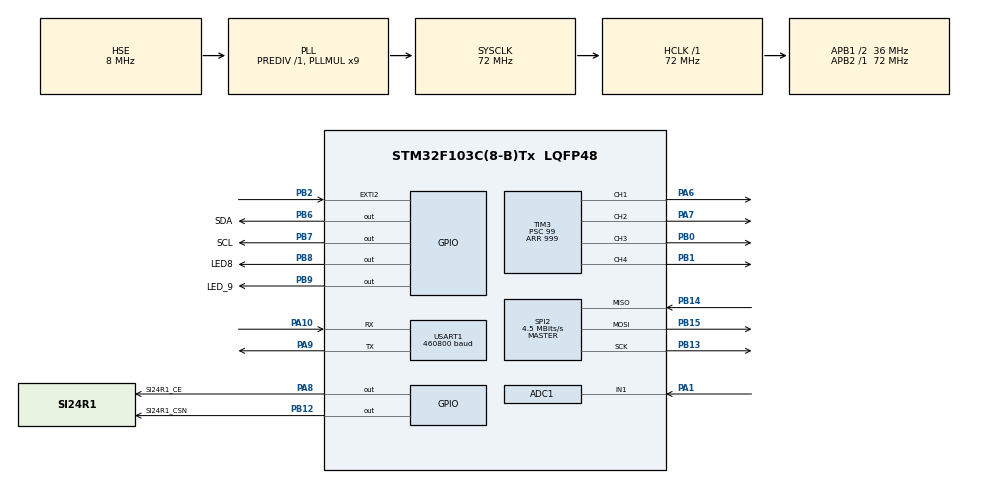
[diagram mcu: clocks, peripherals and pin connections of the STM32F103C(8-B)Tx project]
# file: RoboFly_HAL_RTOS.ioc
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ADC1.Channel-0\#ChannelRegularConversion=ADC_CHANNEL_1
ADC1.NbrOfConversionFlag=1
ADC1.Rank-0\#ChannelRegularConversion=1
ADC1.SamplingTime-0\#ChannelRegularConversion=ADC_SAMPLETIME_239CYCLES_5
ADC1.master=1
FREERTOS.Tasks01=defaultTask,0,128,StartDefaultTask,Default,NULL,Dynamic,NULL,NULL
Mcu.Family=STM32F1
Mcu.Name=STM32F103C(8-B)Tx
Mcu.Package=LQFP48
NVIC.EXTI2_IRQn=true\:6\:0\:true\:false\:true\:true\:true\:true\:true
NVIC.PriorityGroup=NVIC_PRIORITYGROUP_4
NVIC.TIM1_UP_IRQn=true\:15\:0\:false\:false\:true\:false\:false\:true\:true
NVIC.TIM4_IRQn=true\:5\:0\:false\:false\:true\:true\:true\:true\:true
NVIC.TimeBase=TIM1_UP_IRQn
NVIC.TimeBaseIP=TIM1
NVIC.USART1_IRQn=true\:6\:0\:true\:false\:true\:true\:true\:true\:true
PA1.Signal=ADCx_IN1
PA10.Mode=Asynchronous
PA10.Signal=USART1_RX
PA13.Mode=Serial_Wire
PA13.Signal=SYS_JTMS-SWDIO
PA14.Mode=Serial_Wire
PA14.Signal=SYS_JTCK-SWCLK
PA6.Signal=S_TIM3_CH1
PA7.Signal=S_TIM3_CH2
PA8.GPIO_Label=SI24R1_CE
PA8.Signal=GPIO_Output
PA9.Mode=Asynchronous
PA9.Signal=USART1_TX
PB0.Signal=S_TIM3_CH3
PB1.Signal=S_TIM3_CH4
PB12.GPIO_Label=SI24R1_CSN
PB12.GPIO_Speed=GPIO_SPEED_FREQ_HIGH
PB12.Signal=GPIO_Output
PB13.Mode=Full_Duplex_Master
PB13.Signal=SPI2_SCK
PB14.Mode=Full_Duplex_Master
PB14.Signal=SPI2_MISO
PB15.Mode=Full_Duplex_Master
PB15.Signal=SPI2_MOSI
PB2.GPIO_ModeDefaultEXTI=GPIO_MODE_IT_FALLING
PB2.GPIO_PuPd=GPIO_PULLUP
PB2.Signal=GPXTI2
PB6.GPIO_Label=SDA
PB6.GPIO_Speed=GPIO_SPEED_FREQ_HIGH
PB6.PinState=GPIO_PIN_SET
PB6.Signal=GPIO_Output
PB7.GPIO_Label=SCL
PB7.GPIO_Speed=GPIO_SPEED_FREQ_HIGH
PB7.PinState=GPIO_PIN_SET
PB7.Signal=GPIO_Output
PB8.GPIO_Label=LED8
PB8.GPIO_Speed=GPIO_SPEED_FREQ_HIGH
PB8.PinState=GPIO_PIN_SET
PB8.Signal=GPIO_Output
PB9.GPIO_Label=LED_9
PB9.GPIO_Speed=GPIO_SPEED_FREQ_HIGH
PB9.Signal=GPIO_Output
PD0-OSC_IN.Mode=HSE-External-Oscillator
PD0-OSC_IN.Signal=RCC_OSC_IN
PD1-OSC_OUT.Mode=HSE-External-Oscillator
PD1-OSC_OUT.Signal=RCC_OSC_OUT
ProjectManager.HeapSize=0x200
ProjectManager.StackSize=0x400
ProjectManager.TargetToolchain=MDK-ARM V5.32
RCC.ADCPresc=RCC_ADCPCLK2_DIV6
RCC.AHBFreq_Value=72000000
RCC.APB1CLKDivider=RCC_HCLK_DIV2
RCC.APB1Freq_Value=36000000
RCC.APB1TimFreq_Value=72000000
RCC.APB2Freq_Value=72000000
RCC.APB2TimFreq_Value=72000000
RCC.HCLKFreq_Value=72000000
RCC.PLLMUL=RCC_PLL_MUL9
RCC.PLLSourceVirtual=RCC_PLLSOURCE_HSE
RCC.SYSCLKFreq_VALUE=72000000
RCC.SYSCLKSource=RCC_SYSCLKSOURCE_PLLCLK
RCC.USBFreq_Value=72000000
SH.ADCx_IN1.0=ADC1_IN1,IN1
SH.S_TIM3_CH1.0=TIM3_CH1,PWM Generation1 CH1
SH.S_TIM3_CH2.0=TIM3_CH2,PWM Generation2 CH2
SH.S_TIM3_CH3.0=TIM3_CH3,PWM Generation3 CH3
SH.S_TIM3_CH4.0=TIM3_CH4,PWM Generation4 CH4
SPI2.BaudRatePrescaler=SPI_BAUDRATEPRESCALER_8
SPI2.CRCCalculation=SPI_CRCCALCULATION_ENABLE
SPI2.CalculateBaudRate=4.5 MBits/s
SPI2.Direction=SPI_DIRECTION_2LINES
SPI2.Mode=SPI_MODE_MASTER
SPI2.VirtualType=VM_MASTER
TIM3.Channel-PWM\ Generation1\ CH1=TIM_CHANNEL_1
TIM3.Channel-PWM\ Generation2\ CH2=TIM_CHANNEL_2
TIM3.Channel-PWM\ Generation3\ CH3=TIM_CHANNEL_3
TIM3.Channel-PWM\ Generation4\ CH4=TIM_CHANNEL_4
TIM3.Period=999
TIM3.Prescaler=99
TIM4.Period=71
TIM4.Prescaler=999
USART1.BaudRate=460800
USART1.VirtualMode=VM_ASYNC
VP_FREERTOS_VS_CMSIS_V1.Mode=CMSIS_V1
VP_SYS_VS_tim1.Mode=TIM1
VP_TIM4_VS_ClockSourceINT.Mode=Internal
board=custom

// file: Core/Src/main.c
/* USER CODE BEGIN Header */
/**
  ******************************************************************************
  * @file           : main.c
  * @brief          : Main program body
  ******************************************************************************
  * @attention
  *
  * Copyright (c) 2026 STMicroelectronics.
  * All rights reserved.
  *
  * This software is licensed under terms that can be found in the LICENSE file
  * in the root directory of this software component.
  * If no LICENSE file comes with this software, it is provided AS-IS.
  *
  ******************************************************************************
  */
/* USER CODE END Header */
#include "main.h"
#include "cmsis_os.h"
#include "adc.h"
#include "spi.h"
#include "tim.h"
#include "usart.h"
#include "gpio.h"

/* USER CODE BEGIN Includes */
#include "mpu6050.h"
#include "si24r1.h"
#include "fbm320.h"
#include "pid.h"
#include "paramsave.h"
#include "led.h"
/* USER CODE END Includes */

void SystemClock_Config(void);
void MX_FREERTOS_Init(void);

int main(void)
{

  /* MCU Configuration--------------------------------------------------------*/

  /* Reset of all peripherals, Initializes the Flash interface and the Systick. */
  HAL_Init();

  /* Configure the system clock */
  SystemClock_Config();

  /* Initialize all configured peripherals */
  MX_GPIO_Init();
  MX_ADC1_Init();
  MX_SPI2_Init();
  MX_TIM3_Init();
  MX_TIM4_Init();
  MX_USART1_UART_Init();
  /* USER CODE BEGIN 2 */
  SI24R1_Init(); // Initialize SI24R1 module(红)
  MPU6050_Init(); // Initialize MPU6050 sensor（绿）
  // FBM320_Init(); //FBM320初始化(气压计蓝)
  PID_ReadFlash(); // Initialize battery monitoring
  PidParameter_init(); // PID参数初始化
  //	Kalman_Init();
  RGB_LED_Off(); // Turn off RGB LED

  /* USER CODE END 2 */

  /* Call init function for freertos objects (in cmsis_os2.c) */
  MX_FREERTOS_Init();

  /* Start scheduler */
  osKernelStart();

  /* We should never get here as control is now taken by the scheduler */

  /* Infinite loop */
  while (1)
  {
    HAL_Delay(100);
  }
}

void SystemClock_Config(void)
{
  RCC_OscInitTypeDef RCC_OscInitStruct = {0};
  RCC_ClkInitTypeDef RCC_ClkInitStruct = {0};
  RCC_PeriphCLKInitTypeDef PeriphClkInit = {0};

  /** Initializes the RCC Oscillators according to the specified parameters
  * in the RCC_OscInitTypeDef structure.
  */
  RCC_OscInitStruct.OscillatorType = RCC_OSCILLATORTYPE_HSE;
  RCC_OscInitStruct.HSEState = RCC_HSE_ON;
  RCC_OscInitStruct.HSEPredivValue = RCC_HSE_PREDIV_DIV1;
  RCC_OscInitStruct.HSIState = RCC_HSI_ON;
  RCC_OscInitStruct.PLL.PLLState = RCC_PLL_ON;
  RCC_OscInitStruct.PLL.PLLSource = RCC_PLLSOURCE_HSE;
  RCC_OscInitStruct.PLL.PLLMUL = RCC_PLL_MUL9;
  if (HAL_RCC_OscConfig(&RCC_OscInitStruct) != HAL_OK)
  {
    Error_Handler();
  }

  /** Initializes the CPU, AHB and APB buses clocks
  */
  RCC_ClkInitStruct.ClockType = RCC_CLOCKTYPE_HCLK|RCC_CLOCKTYPE_SYSCLK
                              |RCC_CLOCKTYPE_PCLK1|RCC_CLOCKTYPE_PCLK2;
  RCC_ClkInitStruct.SYSCLKSource = RCC_SYSCLKSOURCE_PLLCLK;
  RCC_ClkInitStruct.AHBCLKDivider = RCC_SYSCLK_DIV1;
  RCC_ClkInitStruct.APB1CLKDivider = RCC_HCLK_DIV2;
  RCC_ClkInitStruct.APB2CLKDivider = RCC_HCLK_DIV1;

  if (HAL_RCC_ClockConfig(&RCC_ClkInitStruct, FLASH_LATENCY_2) != HAL_OK)
  {
    Error_Handler();
  }
  PeriphClkInit.PeriphClockSelection = RCC_PERIPHCLK_ADC;
  PeriphClkInit.AdcClockSelection = RCC_ADCPCLK2_DIV6;
  if (HAL_RCCEx_PeriphCLKConfig(&PeriphClkInit) != HAL_OK)
  {
    Error_Handler();
  }
}

void HAL_TIM_PeriodElapsedCallback(TIM_HandleTypeDef *htim)
{
  if (htim->Instance == TIM1) {
    HAL_IncTick();
  }
}

void Error_Handler(void)
{
  __disable_irq();
  while (1)
  {
  }
}

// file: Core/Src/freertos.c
/* USER CODE BEGIN Header */
/**
  ******************************************************************************
  * File Name          : freertos.c
  * Description        : Code for freertos applications
  ******************************************************************************
  * @attention
  *
  * Copyright (c) 2026 STMicroelectronics.
  * All rights reserved.
  *
  * This software is licensed under terms that can be found in the LICENSE file
  * in the root directory of this software component.
  * If no LICENSE file comes with this software, it is provided AS-IS.
  *
  ******************************************************************************
  */
/* USER CODE END Header */

#include "FreeRTOS.h"
#include "task.h"
#include "main.h"
#include "cmsis_os.h"

/* USER CODE BEGIN Includes */
#include "led.h"
#include "power.h"
#include "si24r1.h"
#include "adc.h"
#include "control.h"
#include "imu.h"
#include "remotedata.h"
#include "paramsave.h"
#include "structconfig.h"
#include "ANO_DT.h"

/* USER CODE END Includes */

/* USER CODE BEGIN Variables */
osThreadId controlTaskHandle;
osThreadId commsTaskHandle;
osThreadId statusTaskHandle;
/* USER CODE END Variables */
osThreadId defaultTaskHandle;

/* USER CODE BEGIN FunctionPrototypes */
void Task_Control(void const * argument);
void Task_Comms(void const * argument);
void Task_Status(void const * argument);
void StartDefaultTask(void const * argument);

/* USER CODE END FunctionPrototypes */

void StartDefaultTask(void const * argument);

void MX_FREERTOS_Init(void); /* (MISRA C 2004 rule 8.1) */

/* GetIdleTaskMemory prototype (linked to static allocation support) */
void vApplicationGetIdleTaskMemory( StaticTask_t **ppxIdleTaskTCBBuffer, StackType_t **ppxIdleTaskStackBuffer, uint32_t *pulIdleTaskStackSize );

/* USER CODE BEGIN GET_IDLE_TASK_MEMORY */
static StaticTask_t xIdleTaskTCBBuffer;
static StackType_t xIdleStack[configMINIMAL_STACK_SIZE];

void vApplicationGetIdleTaskMemory( StaticTask_t **ppxIdleTaskTCBBuffer, StackType_t **ppxIdleTaskStackBuffer, uint32_t *pulIdleTaskStackSize )
{
  *ppxIdleTaskTCBBuffer = &xIdleTaskTCBBuffer;
  *ppxIdleTaskStackBuffer = &xIdleStack[0];
  *pulIdleTaskStackSize = configMINIMAL_STACK_SIZE;
  /* place for user code */
}
/* USER CODE END GET_IDLE_TASK_MEMORY */

void MX_FREERTOS_Init(void) {

  /* Create the thread(s) */
  /* definition and creation of defaultTask */
  // osThreadDef(defaultTask, StartDefaultTask, osPriorityNormal, 0, 128);
  // defaultTaskHandle = osThreadCreate(osThread(defaultTask), NULL);

  /* USER CODE BEGIN RTOS_THREADS */
  osThreadDef(controlTask, Task_Control, osPriorityHigh, 0, 512);
  controlTaskHandle = osThreadCreate(osThread(controlTask), NULL);

  osThreadDef(commsTask, Task_Comms, osPriorityNormal, 0, 256);
  commsTaskHandle = osThreadCreate(osThread(commsTask), NULL);

  osThreadDef(statusTask, Task_Status, osPriorityLow, 0, 128);
  statusTaskHandle = osThreadCreate(osThread(statusTask), NULL);
  /* USER CODE END RTOS_THREADS */

}

void StartDefaultTask(void const * argument)
{
  for(;;)
  {
    osDelay(1);
  }
}

/* USER CODE BEGIN Application */
void Task_Control(void const *argument)
{
  for(;;)
  {
    Prepare_Data();												 // 获取姿态解算所需数据
		IMUupdate(&Gyr_rad, &Acc_filt, &Att_Angle);					 // 四元数姿态解算
		Control(&Att_Angle, &Gyr_rad, &RC_Control, Airplane_Enable); // 姿态控制
    osDelay(10);
  }
}

/*
遥控器与上位机通信
*/
void Task_Comms(void const * argument)
{
  for(;;)
  {
    SI24R1_SingalCheck(); // 2.4G通信检测
		SendToRemote();		  // 发送数据给遥控器
    ANO_DT_Data_Exchange(); // 更新数据到上位机
    osDelay(20);
  }
}

/*
遥控器状态监测
电压状态监测
LED状态显示
*/
void Task_Status(void const * argument)
{
  for(;;)
  {
    //Batt read
    // LowVoltage_Alarm();	//低电量报警
    //LED blink
    SI24R1_GetAddr();
    LED_Run();
    if(!Airplane_Enable && Run_flag)
    {
      RGB_LED_Runing(); // 飞机上锁状态灯
    }
    BATT_Alarm_LED(); // 电池低电压报警
    osDelay(100);
  }
}

/* USER CODE END Application */
